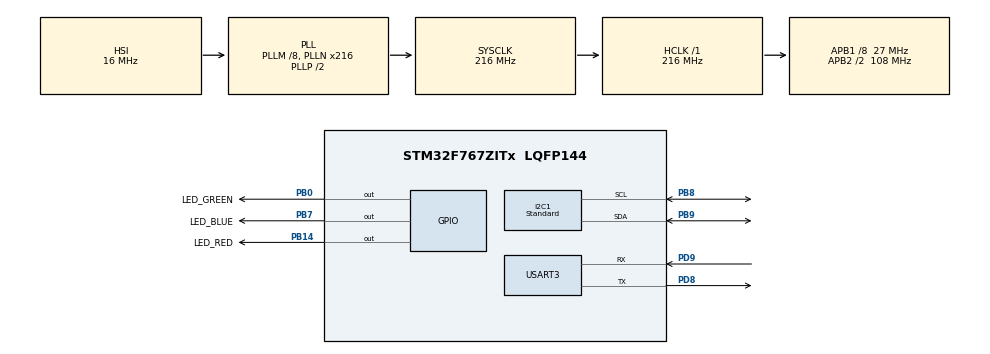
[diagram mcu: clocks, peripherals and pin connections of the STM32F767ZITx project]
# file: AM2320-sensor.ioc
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CORTEX_M7.default_mode_Activation=1
I2C1.I2C_Speed_Mode=I2C_Standard
I2C1.Timing=0x00606A9B
Mcu.Family=STM32F7
Mcu.Name=STM32F767ZITx
Mcu.Package=LQFP144
NVIC.I2C1_ER_IRQn=true\:0\:0\:false\:false\:true\:true\:true\:true
NVIC.I2C1_EV_IRQn=true\:0\:0\:true\:false\:true\:true\:true\:true
NVIC.PriorityGroup=NVIC_PRIORITYGROUP_4
NVIC.TIM6_DAC_IRQn=true\:0\:0\:false\:false\:true\:true\:true\:true
NVIC.USART3_IRQn=true\:0\:0\:true\:false\:true\:true\:true\:true
PA13.Mode=Serial_Wire
PA13.Signal=SYS_JTMS-SWDIO
PA14.Mode=Serial_Wire
PA14.Signal=SYS_JTCK-SWCLK
PB0.GPIO_Label=LED_GREEN
PB0.Signal=GPIO_Output
PB14.GPIO_Label=LED_RED
PB14.Signal=GPIO_Output
PB7.GPIO_Label=LED_BLUE
PB7.Signal=GPIO_Output
PB8.GPIO_Pu=GPIO_NOPULL
PB8.Mode=I2C
PB8.Signal=I2C1_SCL
PB9.GPIO_Pu=GPIO_NOPULL
PB9.Mode=I2C
PB9.Signal=I2C1_SDA
PD8.Mode=Asynchronous
PD8.Signal=USART3_TX
PD9.Mode=Asynchronous
PD9.Signal=USART3_RX
ProjectManager.HeapSize=0x200
ProjectManager.StackSize=0x400
ProjectManager.TargetToolchain=STM32CubeIDE
RCC.AHBFreq_Value=216000000
RCC.APB1CLKDivider=RCC_HCLK_DIV8
RCC.APB1Freq_Value=27000000
RCC.APB1TimFreq_Value=54000000
RCC.APB2CLKDivider=RCC_HCLK_DIV2
RCC.APB2Freq_Value=108000000
RCC.APB2TimFreq_Value=216000000
RCC.CortexFreq_Value=216000000
RCC.HCLKFreq_Value=216000000
RCC.HSE_VALUE=25000000
RCC.HSI_VALUE=16000000
RCC.LSE_VALUE=32768
RCC.PLLM=8
RCC.PLLN=216
RCC.SYSCLKFreq_VALUE=216000000
RCC.SYSCLKSource=RCC_SYSCLKSOURCE_PLLCLK
RCC.USBFreq_Value=216000000
RCC.VCOOutputFreq_Value=432000000
TIM6.AutoReloadPreload=TIM_AUTORELOAD_PRELOAD_ENABLE
TIM6.Period=1000-1
TIM6.Prescaler=54000-1
USART3.VirtualMode-Asynchronous=VM_ASYNC
VP_TIM6_VS_ClockSourceINT.Mode=Enable_Timer
board=custom

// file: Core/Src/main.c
/* USER CODE BEGIN Header */
/**
  ******************************************************************************
  * @file           : main.c
  * @brief          : Main program body
  ******************************************************************************
  * @attention
  *
  * Copyright (c) 2024 STMicroelectronics.
  * All rights reserved.
  *
  * This software is licensed under terms that can be found in the LICENSE file
  * in the root directory of this software component.
  * If no LICENSE file comes with this software, it is provided AS-IS.
  *
  ******************************************************************************
  */
/* USER CODE END Header */
#include "main.h"

/* USER CODE BEGIN Includes */
#include <stdio.h>
#include <ctype.h>
#include <inttypes.h>

#include "string.h"
#include "math.h"
#include "am2320_it.h"
#include "converters.h"
/* USER CODE END Includes */

/* USER CODE BEGIN PTD */
AM2320_HandleTypeDef am2320;

typedef struct {
	uint16_t temperature;
	uint16_t humidity;
} AM2320_Data;

// Used for storing information about the microcontroller
typedef struct {
	uint32_t unique_id[3];
	uint16_t rev_id;
	uint16_t dev_id;
} STM32_Info;

STM32_Info dev_info = {0};
/* USER CODE END PTD */

/* USER CODE BEGIN PD */
#define MAX_FRAME_LEN 1024
#define MIN_FRAME_LEN 12 // Frame length of a valid frame with an empty body
#define UART3_TX_BUF_LEN 4096
#define UART3_RX_BUF_LEN 4096
/* USER CODE END PD */

I2C_HandleTypeDef hi2c1;

TIM_HandleTypeDef htim6;

UART_HandleTypeDef huart3;

/* USER CODE BEGIN PV */
uint8_t UART3_Tx_Buf[UART3_TX_BUF_LEN];   // TX buffer for UART3
uint8_t UART3_Rx_Buf[UART3_RX_BUF_LEN];   // RX buffer for UART3

volatile uint16_t UART3_Tx_Empty = 0;     // TX buffer complete index
volatile uint16_t UART3_Tx_Busy = 0;      // TX buffer in progress index
volatile uint16_t UART3_Rx_Empty = 0;     // RX buffer complete index
volatile uint16_t UART3_Rx_Busy = 0;      // RX buffer in progress index

const uint8_t DEVICE_ADDRESS[4] = "STM";

AM2320_State am2320_state = AM2320_STATE_IDLE;
HAL_StatusTypeDef ret;
uint32_t tick_delay = 0;
uint8_t data_ready = 0;

volatile uint8_t delay_elapsed = 1;
volatile uint8_t sensor_active = 0;
volatile uint8_t sensor_read_data = 0;
volatile uint8_t sensor_read_info = 0;
volatile uint32_t sensor_read_interval = 2000;

AM2320_Data AM2320_Data_Buf[300];
volatile uint16_t AM2320_Buf_Idx = 0;
/* USER CODE END PV */

void SystemClock_Config(void);
static void MPU_Config(void);
static void MX_GPIO_Init(void);
static void MX_USART3_UART_Init(void);
static void MX_I2C1_Init(void);
static void MX_TIM6_Init(void);

/* USER CODE BEGIN 0 */
/**
 * @brief  Receives and validates a communication frame from the UART buffer.
 *
 * This function processes the incoming UART data, checks for valid frame format,
 * applies escape character sequences, verifies if the frame is meant for this
 * device based on the address, and validates the CRC checksum. If the frame is
 * valid, it extracts the sender's address and the data payload into the provided
 * arrays. Invalid frames are skipped.
 *
 * @param  sender_address Pointer to a buffer for storing the sender's address from the frame.
 * @param  data Pointer to a buffer for storing the extracted data payload from the frame.
 * @param  data_length Pointer to the variable storing the length of the data array.
 * @retval 1 if the frame is valid and processed successfully, 0 otherwise
 */
uint8_t receive_frame(uint8_t *sender_address, uint8_t *data, uint16_t *data_length)
{
	static uint8_t tmp[MAX_FRAME_LEN];
	static uint16_t index = 0;
	static uint8_t escape = 0; // Marker for the special '\' escape character sequence

	// When there's data to collect from the reception buffer
	while (UART3_Rx_Empty != UART3_Rx_Busy)
	{
		// Store new data in temporary buffer
		tmp[index] = UART3_Rx_Buf[UART3_Rx_Busy];
		if (++UART3_Rx_Busy >= UART3_RX_BUF_LEN)
		{
			UART3_Rx_Busy = 0;
		}

		// Collect & decode received frame
		if (tmp[index] == '[')
		{
			tmp[0] = '[';
			index = 1;
			escape = 0;
			continue;
		}

		// If received character was not the frame starting character ('[')
		if (!index)
		{
			continue;
		}

		// If the current character is the escape character, decode the following characters
		if (escape)
		{
			if (tmp[index] == '\\' && (index + 1) < MAX_FRAME_LEN)
			{
				tmp[index++] = '\\';
			}
			else if (tmp[index] == '{' && (index + 1) < MAX_FRAME_LEN)
			{
				tmp[index++] = '[';
			}
			else if (tmp[index] == '}' && (index + 1) < MAX_FRAME_LEN)
			{
				tmp[index++] = ']';
			}
			else
			{
				index = 0; // Incorrect character in the escape sequence -- reset the frame
			}
			escape = 0; // Turn off special character encoding
		}
		// If character at index is the escape character
		else if (tmp[index] == '\\')
		{
			escape = 1;
		}
		// Frame ending character found, move to data checks & collection
		else if (tmp[index] == ']')
		{
			uint16_t frame_length = index + 1; // Add frame end to the length
			index = 0;

			// Run checks before frame data collection
			// Skip frame, if the length is too short
			if (frame_length < MIN_FRAME_LEN)
			{
				continue;
			}

			// Skip frame if the recipient is NOT this device ('STM')
			if (tmp[4] != DEVICE_ADDRESS[0] || tmp[5] != DEVICE_ADDRESS[1] || tmp[6] != DEVICE_ADDRESS[2])
			{
				continue;
			}

			// Skip the frame on invalid CRC value
			uint8_t *crc_value_ptr = &tmp[frame_length - 5]; // CRC value length (4) + frame end character (1)

			// Compute the CRC value based on received frame's data
			uint8_t *data_value_ptr = &tmp[7];
			uint16_t data_part_length = frame_length - MIN_FRAME_LEN;
			uint16_t computed_crc = compute_CRC(data_value_ptr, data_part_length);

			// Convert computed CRC to char array for value comparison
			uint8_t crc_string[5];
			sprintf((char *)crc_string, "%04X", computed_crc);

			for (uint8_t i = 0; i < 4; i++)
			{
				if (!is_valid_hex((const char *)crc_value_ptr, 1))
				{
					continue; // Skip the frame if CRC character is not a valid hex number
				}
				else if (*crc_value_ptr != crc_string[i])
				{
					continue; // Skip the frame if the CRC doesn't match
				}
				crc_value_ptr++;
			}

			// Copy the frame's data part to the data array
			for (uint16_t i = 0; i < data_part_length; i++)
			{
				data[i] = *data_value_ptr; // Assign value at the memory address to the data array
				data_value_ptr++; // Move to the next memory address
			}
			data[data_part_length] = '\0'; // Null-terminate the array at the last index of the data

			// Copy the frame's sender address
			for (uint8_t i = 0; i < 4; i++)
			{
				*sender_address = tmp[i + 1];
				sender_address++;
			}

			// Pass the data length to the pointer variable
			*data_length = data_part_length;

			return 1;
		}
		else if (++index >= MAX_FRAME_LEN)
		{
			index = 0;
		}
	}
	return 0;
}

/**
 * @brief  Sends a formatted communication frame over UART from the STM32 device.
 *
 * This function creates a communication frame that includes the sender address,
 * recipient address, data payload, and CRC value, encapsulated within start ('[')
 * and end (']') characters. It also appends the carriage return and newline characters
 * at the end of the frame for line termination. The frame is then transferred to the
 * UART TX buffer, and the UART transmission is initiated using interrupt communication.
 *
 * @param  recipient_address Pointer to the buffer containing the recipient address.
 * @param  data Pointer to the buffer containing the data payload to be sent.
 * @param  crc_value The 16-bit CRC value.
 * @retval None
 */
void send_frame(uint8_t *recipient_address, uint8_t *data, uint16_t crc_value)
{
	uint16_t frame_length = strlen((char *)data) + MIN_FRAME_LEN; // Data length + other frame characters (12)
	uint8_t frame[frame_length + 3]; // Add (3) indexes for the special characters at the end of the frame
	uint16_t index = 0;

	// Cast the uint16_t CRC value to a uint8_t array
	uint8_t crc_string[5];
	sprintf((char *)crc_string, "%04X", crc_value);

	// Define pointers for easier data assignment in arrays
	const uint8_t *device_address_ptr = DEVICE_ADDRESS;
	uint8_t *crc_string_ptr = crc_string;

	// Create the communication frame
	frame[index++] = '['; // Add frame start character
	while (index < frame_length - 1) // Subtract (1) to omit copying the '\0' from the CRC string
	{
		if (index < 4) // Fill the sender address (STM)
		{
			frame[index++] = *device_address_ptr;
			device_address_ptr++;
		}
		else if (index < 7) // Fill the recipient address
		{
			frame[index++] = *recipient_address;
			recipient_address++;
		}
		else if (index < (frame_length - 5)) // Fill the data part
		{
			frame[index++] = *data;
			data++;
		}
		else // Fill the CRC value
		{
			frame[index++] = *crc_string_ptr;
			crc_string_ptr++;
		}
	}
	frame[index++] = ']'; // Add frame end character
	frame[index++] = '\r'; // Add the carriage return character
	frame[index++] = '\n'; // Add the newline character
	frame[index++] = '\0'; // Null-terminate the frame

	// Push the frame to the UART TX buffer
	volatile uint16_t copy_index = UART3_Tx_Empty;
	for (uint16_t i = 0; i < index; i++)
	{
		UART3_Tx_Buf[copy_index] = frame[i];
		if (++copy_index >= UART3_TX_BUF_LEN)
		{
			copy_index= 0;
		}
	}
	__disable_irq();

	// Transmit the frame from the TX buffer
	if (UART3_Tx_Empty == UART3_Tx_Busy && __HAL_UART_GET_FLAG(&huart3, UART_FLAG_TXE == SET))
	{
		UART3_Tx_Empty = copy_index;
		uint8_t tmp = UART3_Tx_Buf[UART3_Tx_Busy];
		if (++UART3_Tx_Busy >= UART3_TX_BUF_LEN)
		{
			UART3_Tx_Busy = 0;
		}
		HAL_UART_Transmit_IT(&huart3, &tmp, 1);
	}
	else
	{
		UART3_Tx_Empty = copy_index;
	}
	__enable_irq();
}

/**
 * @brief  Assigns information about the STM32 microcontroller to the info struct.
 *
 * @param  unique_id_address A pointer to the address where the unique ID is stored.
 * @param  idcode_address A pointer to the address of the device's ID code register.
 * @param  dev_info A pointer to the structure to assign the received data to.
 * @retval None
 */
void STM32_GetDeviceInfo(uint32_t *unique_id_address, uint32_t *idcode_address, STM32_Info *dev_info)
{
	// Get the unique ID of the microcontroller
	dev_info->unique_id[0] = unique_id_address[0];
	dev_info->unique_id[1] = unique_id_address[1];
	dev_info->unique_id[2] = unique_id_address[2];

	// Get the DBGMCU information
	uint32_t idcode = *(volatile uint32_t *)idcode_address;
	dev_info->rev_id = (idcode >> 16) & 0xFFFF;
	dev_info->dev_id = idcode & 0xFFF;
}

/**
 * @brief  Constructs the return frame with the STM32 info, and sends it to the user.
 *
 * @param  recipient A pointer to the source, requesting the data.
 * @param  device_info A pointer to the struct containing the STM info.
 * @retval None
 */
void STM32_SendDeviceInfoFrame(uint8_t *recipient, STM32_Info *device_info)
{
	// Descriptions for the device information
	uint8_t tmp_uid_desc[12] = "UNIQUE ID: ";
	uint8_t tmp_rev_desc[9] = "REV_ID: ";
	uint8_t tmp_id_desc[9] = "DEV_ID: ";

	// Device info buffers
	uint8_t tmp_uid_char[25];
	uint8_t tmp_rev_char[5];
	uint8_t tmp_id_char[4];

	// Helper variables for tracking array lengths and validating char-casting
	uint8_t char_array_length = 0;
	uint8_t ret;

	char_array_length = sizeof(tmp_uid_char);
	ret = snprintf((char *)tmp_uid_char, char_array_length, "%08lX%08lX%08lX",
			device_info->unique_id[0],
			device_info->unique_id[1],
			device_info->unique_id[2]);
	if (ret < 0 || ret > char_array_length) return;

	char_array_length = sizeof(tmp_rev_char);
	ret = snprintf((char *)tmp_rev_char, char_array_length, "%03X", device_info->rev_id);
	if (ret < 0 || ret > char_array_length) return;

	char_array_length = sizeof(tmp_id_char);
	ret = snprintf((char *)tmp_id_char, char_array_length, "%03X", device_info->dev_id);
	if (ret < 0 || ret > char_array_length) return;

	uint8_t info_output_data[61];
	uint8_t index = 0;

	// Construct the final output array by concatenating the string arrays
	memcpy(&info_output_data[index], tmp_uid_desc, strlen((const char*)tmp_uid_desc)); // Skip the null terminator
	index += strlen((const char *)tmp_uid_desc);

	memcpy(&info_output_data[index], tmp_uid_char, strlen((const char*)tmp_uid_char)); // Skip the null terminator
	index += strlen((const char *)tmp_uid_char);

	info_output_data[index++] = ' '; // Add a space separator

	memcpy(&info_output_data[index], tmp_rev_desc, strlen((const char*)tmp_rev_desc)); // Skip the null terminator
	index += strlen((const char *)tmp_rev_desc);

	memcpy(&info_output_data[index], tmp_rev_char, strlen((const char*)tmp_rev_char)); // Skip the null terminator
	index += strlen((const char *)tmp_rev_char);

	info_output_data[index++] = ' '; // Add a space separator

	memcpy(&info_output_data[index], tmp_id_desc, strlen((const char*)tmp_id_desc)); // Skip the null terminator
	index += strlen((const char *)tmp_id_desc);

	memcpy(&info_output_data[index], tmp_id_char, strlen((const char*)tmp_id_char) + 1); // Copy the null-terminator
	index += strlen((const char *)tmp_id_char);

	uint16_t crc_value = compute_CRC(info_output_data, index);
	send_frame(recipient, info_output_data, index, crc_value);
}

/**
 * @brief  Prepares and sends the formatted sensor reads.
 *
 * The function formats the read temperature and humidity values, constructs
 * and sends the frame with the formatted AM2320 sensor read values to the original
 * frame sender.
 *
 * @param  recipient A pointer to the original frame sender.
 * @param  temperature A float storing the temperature read value.
 * @param  humidity A float storing the humidity read value.
 * @retval None
 */
void AM2320_SendSensorDataFrame(uint8_t *recipient, uint16_t *read_idx, uint16_t temperature, uint16_t humidity)
{
	// Descriptions for the sensor data
	uint8_t tmp_temp_desc[7] = "TEMP: ";
	uint8_t tmp_hum_desc[6] = "HUM: ";

	// Sensor output buffers for the 4-bit hex format
	uint8_t tmp_char_temp[6];
	uint8_t tmp_char_hum[8];

	// Check if 'snprintf()' returned encoding errors or had written an invalid amount of characters
	uint8_t char_array_length = 0;
	uint8_t ret;

	char_array_length = sizeof(tmp_char_temp);
	ret = snprintf((char *)tmp_char_temp, char_array_length, "%04X", temperature);
	if (ret < 0 || ret >= char_array_length) return;

	tmp_char_temp[ret++] = 'C';
	tmp_char_temp[ret] = '\0';

	char_array_length = sizeof(tmp_char_hum);
	ret = snprintf((char *)tmp_char_hum, char_array_length, "%04X", humidity);
	if (ret < 0 || ret >= char_array_length) return;

	tmp_char_hum[ret++] = '%';
	tmp_char_hum[ret++] = 'R';
	tmp_char_hum[ret++] = 'H';
	tmp_char_hum[ret] = '\0';

	uint8_t sensor_read_output[35]; // Max total size of tmp arrays - x4 skipped '\0's + final '\0' at the end of the array
	uint8_t index = 0;

	// If requested, prepare the 'IDX' output string
	if (read_idx != NULL)
	{
		uint8_t tmp_idx_desc[6] = "IDX: ";
		uint8_t tmp_char_idx[5];
		uint8_t idx_array_length = 5;

		ret = snprintf((char *)tmp_char_idx, idx_array_length, "%04X", *read_idx);
		if (ret < 0 || ret >= idx_array_length) return;

		// Construct the final output array by concatenating the string arrays
		memcpy(&sensor_read_output[index], tmp_idx_desc, strlen((const char *)tmp_idx_desc)); // Skip the null terminator
		index += strlen((const char *)tmp_idx_desc);

		memcpy(&sensor_read_output[index], tmp_char_idx, strlen((const char *)tmp_char_idx)); // Skip the null terminator
		index += strlen((const char *)tmp_char_idx);

		sensor_read_output[index++] = ' '; // Add a space separator
	}

	// Construct the final output array by concatenating the string arrays
	memcpy(&sensor_read_output[index], tmp_temp_desc, strlen((const char *)tmp_temp_desc)); // Skip the null terminator
	index += strlen((const char *)tmp_temp_desc);

	memcpy(&sensor_read_output[index], tmp_char_temp, strlen((const char *)tmp_char_temp)); // Skip the null terminator
	index += strlen((const char *)tmp_char_temp);

	sensor_read_output[index++] = ' '; // Add a space separator

	memcpy(&sensor_read_output[index], tmp_hum_desc, strlen((const char *)tmp_hum_desc)); // Skip the null terminator
	index += strlen((const char *)tmp_hum_desc);

	memcpy(&sensor_read_output[index], tmp_char_hum, strlen((const char *)tmp_char_hum) + 1); // Copy the null terminator
	index += strlen((const char *)tmp_char_hum);

	uint16_t crc_value = compute_CRC(sensor_read_output, index);
	send_frame(recipient, sensor_read_output, index, crc_value);
}

/**
 * @brief  Reads and executes the command sent in the data part of the frame.
 *
 * This function searches for available command substrings within the passed data array.
 * If a command is found it is immediately executed within the loop. After command execution,
 * the function continues to look for the next command until it reaches the end of data array.
 *
 * @param  recipient_address A pointer to the array containing the frame sender's address.
 * @param  frame_data A pointer to the array containing the commands.
 * @param  data_length Amount of characters to read from the data array.
 * @retval None
 */
void process_command(uint8_t *recipient_address, uint8_t *frame_data, uint16_t data_length)
{
	// Define available commands in char array format for string value comparison
	const char *available_commands[] = { "START", "STOP", "READ", "INTV", "INFO" };
	uint8_t command_count = sizeof(available_commands) / sizeof(available_commands[0]);

	uint8_t tmp_command[data_length]; // Temporary array for processing commands in FIFO order
	uint16_t tmp_command_idx = 0;

	const char *index = (const char *)&tmp_command; // Checkpoint index for command processing

	// Exit early without processing data
	if (data_length < 5)
	{
		return; // Shortest valid command needs at least 5 characters
	}
	else if (!strstr((const char *)frame_data, (const char *)";"))
	{
		return; // No command end character found -- no valid command in data array
	}

	while (tmp_command_idx <= data_length)
	{
		// Compare every available command with the current content of tmp_command array
		for (uint8_t i = 0; i < command_count; i++)
		{
			// Look for a matching command string from the previous index, onwards
			const char *match = strstr(index, available_commands[i]);
			const char *char_after_command_string = match + strlen((const char *)available_commands[i]);
			if (match && *char_after_command_string == ';')
			{
				// Save the index of the last found command -- prevents from 'finding' the same command twice
				index = match + strlen((const char *)available_commands[i]) + 1; // Shift the index past the ';' char
				if (strncmp(available_commands[i], "START", strlen("START")) == 0)
				{
					HAL_GPIO_WritePin(LED_RED_GPIO_Port, LED_RED_Pin, 0); // Debug: Turn OFF RED LED
					sensor_active = 1;
					uint16_t crc_value = compute_CRC((uint8_t *)"SENSOR: STARTED", strlen("SENSOR: STARTED"));
					send_frame(recipient_address, (uint8_t *)"SENSOR: STARTED", strlen("SENSOR: STARTED"), crc_value);
				}
				else if (strncmp(available_commands[i], "STOP", strlen("STOP")) == 0)
				{
					HAL_GPIO_WritePin(LED_RED_GPIO_Port, LED_RED_Pin, 1); // Debug: Turn ON RED LED
					sensor_active = 0;
					uint16_t crc_value = compute_CRC((uint8_t *)"SENSOR: STOPPED", strlen("SENSOR: STOPPED"));
					send_frame(recipient_address, (uint8_t *)"SENSOR: STOPPED", strlen("SENSOR: STOPPED"), crc_value);
				}
				else if (strncmp(available_commands[i], "READ", strlen("READ")) == 0)
				{
					HAL_GPIO_TogglePin(LED_GREEN_GPIO_Port, LED_GREEN_Pin); // Debug: Toggle GREEN LED
					sensor_read_data = !sensor_read_data; // Toggle displaying the data
				}
				else if (strncmp(available_commands[i], "INTV", strlen("INTV")) == 0)
				{
					uint8_t interval_ret_message[19] = "INTERVAL: ";
					uint8_t tmp_interval_value_array[9];
					sprintf((char *)tmp_interval_value_array, "%08" PRIX32, sensor_read_interval);

					// Concatenate the arrays to form the message
					size_t interval_array_size = sizeof(interval_ret_message) / sizeof(interval_ret_message[0]) - 1;
					size_t concat_char_limit = interval_array_size - strlen((const char *)tmp_interval_value_array);
					strncat((char *)interval_ret_message, (const char *)tmp_interval_value_array, concat_char_limit);

					// Send return message
					uint16_t crc_value = compute_CRC(interval_ret_message, interval_array_size);
					send_frame(recipient_address, interval_ret_message, interval_array_size, crc_value);
				}
			}
			else if (match && *char_after_command_string == '|')
			{
				if (strncmp(available_commands[i], "READ", strlen("READ")) == 0 && *(char_after_command_string + 5) == ';')
				{
					index = match + strlen((const char *)available_commands[i]) + 6; // Shift the index past the ';' char
					// Fill the read param's numerical values
					uint8_t tmp_read_param[5];
					for (uint8_t i = 0; i < 4; i++)
					{
						tmp_read_param[i] = *(char_after_command_string++ + 1);
					}
					tmp_read_param[4] = '\0'; // Null-terminate the array

					// Validate the numerical values in the array
					if (!is_valid_hex((const char *)tmp_read_param, strlen((const char *)tmp_read_param)))
					{
						continue;
					}

					// Get data from AM2320 buffer
					uint16_t buffer_index = convert_char_string_to_uint16(tmp_read_param, strlen((const char *)tmp_read_param));

					// Validate the index is within range of the AM2320 data buffer
					if (buffer_index < 0 || buffer_index > 299)
					{
						uint16_t crc_value = compute_CRC((uint8_t *)"IDX_ERROR", strlen((const char *)"IDX_ERROR"));
						send_frame(recipient_address, (uint8_t *)"IDX_ERROR", strlen((const char *)"IDX_ERROR"), crc_value);
						continue;
					}

					AM2320_Data archived_data = AM2320_Data_Buf[buffer_index];
					AM2320_SendSensorDataFrame(recipient_address, &buffer_index, archived_data.temperature, archived_data.humidity);
				}
				else if (strncmp(available_commands[i], "READ", strlen("READ")) == 0 && *(char_after_command_string + 5) == '-' && *(char_after_command_string + 10) == ';')
				{
					index = match + strlen((const char *)available_commands[i]) + 11; // Shift the index past the ';' char
					uint8_t tmp_read_param_start[5];
					uint8_t tmp_read_param_stop[5];

					// Fill the numerical string parameter arrays
					for (uint8_t i = 0; i < 4; i++)
					{
						tmp_read_param_start[i] = *(char_after_command_string + 1);
						tmp_read_param_stop[i] = *(char_after_command_string + 6);
						char_after_command_string++;
					}
					// Null-terminate the arrays
					tmp_read_param_start[4] = '\0';
					tmp_read_param_stop[4] = '\0';

					// Validate the numerical values in the arrays
					if (!is_valid_hex((const char *)tmp_read_param_start, strlen((const char *)tmp_read_param_start)) ||
						!is_valid_hex((const char *)tmp_read_param_stop, strlen((const char *)tmp_read_param_stop)))
					{
						continue;
					}

					// Get data from AM2320 buffer
					uint16_t buffer_start_index = convert_char_string_to_uint16(tmp_read_param_start, strlen((const char*)tmp_read_param_start));
					uint16_t buffer_stop_index = convert_char_string_to_uint16(tmp_read_param_stop, strlen((const char*)tmp_read_param_stop));

					// Validate the index start and stop values
					if (buffer_start_index > buffer_stop_index ||
						(buffer_start_index < 0 || buffer_start_index > 299) ||
						(buffer_stop_index < 0 || buffer_stop_index > 299))
					{
						uint16_t crc_value = compute_CRC((uint8_t *)"IDX_ERROR", strlen((const char *)"IDX_ERROR"));
						send_frame(recipient_address, (uint8_t *)"IDX_ERROR", strlen((const char *)"IDX_ERROR"), crc_value);
						continue;
					}

					AM2320_Data archived_data;
					while (buffer_start_index <= buffer_stop_index)
					{
						archived_data = AM2320_Data_Buf[buffer_start_index];
						AM2320_SendSensorDataFrame(recipient_address, &buffer_start_index, archived_data.temperature, archived_data.humidity);
						buffer_start_index++;
					}
				}
				else if (strncmp(available_commands[i], "INTV", strlen("INTV")) == 0 && *(char_after_command_string + 9) == ';')
				{
					index = match + strlen((const char *)available_commands[i]) + 10; // Shift the index past the ';' char
					uint8_t tmp_intv_param[9];

					// Fill the param's numerical values
					for (uint8_t i = 0; i < 8; i++)
					{
						tmp_intv_param[i] = *(char_after_command_string++ + 1);
					}
					tmp_intv_param[8] = '\0'; // Null-terminate the array

					// Validate the numerical values in the array
					if (!is_valid_hex((const char *)tmp_intv_param, strlen((const char *)tmp_intv_param)))
					{
						continue;
					}

					// Assign new interval value
					sensor_read_interval = convert_char_string_to_uint16(tmp_intv_param, strlen((const char *)tmp_intv_param));

					// TODO: Improve range check logic
					// Only check for values under 2000ms -- values over the max range will overflow
					if (sensor_read_interval < 2000)
					{
						uint16_t crc_value = compute_CRC((uint8_t *)"IDX_ERROR", strlen((const char *)"IDX_ERROR"));
						send_frame(recipient_address, (uint8_t *)"IDX_ERROR", strlen((const char *)"IDX_ERROR"), crc_value);
						continue;
					}

					// Prepare the return command message
					uint8_t tmp_interval_array[23] = "NEW INTERVAL: ";
					uint8_t tmp_interval_value_array[9];
					sprintf((char *)tmp_interval_value_array, "%08" PRIX32, sensor_read_interval);

					// Concatenate the arrays to form the message
					size_t interval_array_size = sizeof(tmp_interval_array) / sizeof(tmp_interval_array[0]) - 1;
					size_t concat_char_limit = interval_array_size - strlen((const char *)tmp_interval_value_array);
					strncat((char *)tmp_interval_array, (const char *)tmp_interval_value_array, concat_char_limit);

					// Send return message
					uint16_t crc_value = compute_CRC(tmp_interval_array, interval_array_size);
					send_frame(recipient_address, tmp_interval_array, interval_array_size, crc_value);
				}
				else if (strncmp(available_commands[i], "INFO", strlen("INFO")) == 0 && *(char_after_command_string + 4) == ';')
				{
					index = match + strlen((const char *)available_commands[i]) + 5; // Shift the index past the ';' char

					uint8_t tmp_info_param[4];
					for (uint8_t i = 0; i < 3; i++)
					{
						tmp_info_param[i] = *(char_after_command_string++ + 1);
					}
					tmp_info_param[3] = '\0'; // Null-terminate the array

					if (strncmp((const char *)tmp_info_param, "STM", strlen("STM")) == 0)
					{
						uint32_t *id_address = (uint32_t *)0x1FF0F420;
						uint32_t *idcode_address = (uint32_t *)0xE0042000;
						STM32_GetDeviceInfo(id_address, idcode_address, &dev_info);

						STM32_SendDeviceInfoFrame(recipient_address, &dev_info);
					}
					else if (strncmp((const char *)tmp_info_param, "SNS", strlen("SNS")) == 0)
					{
						sensor_read_info = 1;
					}
					else continue;
				}
			}
			else if (match && (*frame_data != '|' && *frame_data != ';'))
			{
				index = (const char *)(tmp_command + tmp_command_idx); // Reset index -- prevents from 'indexing' old commands
			}
		}
		tmp_command[tmp_command_idx++] = *(frame_data++); // Copy next character to the temporary array
	}

	// Reset the temporary array -- ensures no data is left over from the last read
	memset(tmp_command, 0, sizeof(tmp_command));
}
/* USER CODE END 0 */

int main(void)
{

  /* MPU Configuration--------------------------------------------------------*/
  MPU_Config();

  /* MCU Configuration--------------------------------------------------------*/

  /* Reset of all peripherals, Initializes the Flash interface and the Systick. */
  HAL_Init();

  /* USER CODE BEGIN Init */
  uint8_t sender_address[4] = {0};
  uint8_t data[MAX_FRAME_LEN];
  uint16_t data_length = 0;

  uint16_t temperature = 0;
  uint16_t humidity = 0;

  // Sensor info
  uint32_t am2320_id = 0;
  uint16_t am2320_model = 0;
  uint8_t am2320_version = 0;

  AM2320_Data read_data;
  /* USER CODE END Init */

  /* Configure the system clock */
  SystemClock_Config();

  /* Initialize all configured peripherals */
  MX_GPIO_Init();
  MX_USART3_UART_Init();
  MX_I2C1_Init();
  MX_TIM6_Init();
  /* USER CODE BEGIN 2 */
  HAL_UART_Receive_IT(&huart3, &UART3_Rx_Buf[UART3_Rx_Empty], 1);
  AM2320_Init(&am2320, &hi2c1, AM2320_ADDRESS);
  /* USER CODE END 2 */

  /* Infinite loop */
  while (1)
  {

    /* USER CODE BEGIN 3 */
	  uint8_t frame_received = receive_frame(sender_address, data, &data_length);
	  if (frame_received)
	  {
		  process_command(sender_address, data, data_length);
	  }

	  // Return to the beginning of the loop if the sensor is idle
	  if (sensor_active == 0)
	  {
		  continue;
	  }

	  // AM2320 sensor reads
	  if (delay_elapsed == 1)
	  {
		  AM2320_InitSensorRead(&am2320);

		  if (sensor_read_data == 1)
		  {
			  AM2320_ReadSensorData(&am2320);
		  }
		  else if (sensor_read_info == 1)
		  {
			  AM2320_ReadSensorInfo(&am2320);
		  }

		  if (data_ready == 1 && sensor_read_data == 1)
		  {
			  // Sensor data successfully read, process the data
			  AM2320_ProcessSensorData(&am2320, &temperature, &humidity);

			  // Assign read data to a temporary data storage variable
			  read_data.temperature = temperature;
			  read_data.humidity = humidity;

			  // Place processed data in the AM2320 data buffer
			  AM2320_Data_Buf[AM2320_Buf_Idx] = read_data;

			  if (++AM2320_Buf_Idx >= 300)
			  {
				  AM2320_Buf_Idx = 0;
			  }

			  // Send the sensor data back
			  AM2320_SendSensorDataFrame(sender_address, NULL, temperature, humidity);

			  data_ready = 0;
			  am2320_state = AM2320_STATE_IDLE;

			  if (htim6.State != HAL_TIM_STATE_READY)
			  {
				  HAL_TIM_Base_Stop_IT(&htim6); // Manually stop the timer
			  }
			  TIM_StartDelay(sensor_read_interval); // Start the delay between sensor reads
		  }
		  else if (data_ready == 1 && sensor_read_info == 1)
		  {
			  AM2320_ProcessSensorInfo(&am2320, &am2320_id, &am2320_model, &am2320_version);

			  sensor_read_info = 0;
			  data_ready = 0;

			  if (htim6.State != HAL_TIM_STATE_READY)
			  {
				  HAL_TIM_Base_Stop_IT(&htim6); // Manually stop the timer
			  }
			  TIM_StartDelay(sensor_read_interval); // Restart the delay for the reads
		  }
	  }
  }
  /* USER CODE END 3 */
}

void SystemClock_Config(void)
{
  RCC_OscInitTypeDef RCC_OscInitStruct = {0};
  RCC_ClkInitTypeDef RCC_ClkInitStruct = {0};

  /** Configure the main internal regulator output voltage
  */
  __HAL_RCC_PWR_CLK_ENABLE();
  __HAL_PWR_VOLTAGESCALING_CONFIG(PWR_REGULATOR_VOLTAGE_SCALE1);

  /** Initializes the RCC Oscillators according to the specified parameters
  * in the RCC_OscInitTypeDef structure.
  */
  RCC_OscInitStruct.OscillatorType = RCC_OSCILLATORTYPE_HSI;
  RCC_OscInitStruct.HSIState = RCC_HSI_ON;
  RCC_OscInitStruct.HSICalibrationValue = RCC_HSICALIBRATION_DEFAULT;
  RCC_OscInitStruct.PLL.PLLState = RCC_PLL_ON;
  RCC_OscInitStruct.PLL.PLLSource = RCC_PLLSOURCE_HSI;
  RCC_OscInitStruct.PLL.PLLM = 8;
  RCC_OscInitStruct.PLL.PLLN = 216;
  RCC_OscInitStruct.PLL.PLLP = RCC_PLLP_DIV2;
  RCC_OscInitStruct.PLL.PLLQ = 2;
  RCC_OscInitStruct.PLL.PLLR = 2;
  if (HAL_RCC_OscConfig(&RCC_OscInitStruct) != HAL_OK)
  {
    Error_Handler();
  }

  /** Activate the Over-Drive mode
  */
  if (HAL_PWREx_EnableOverDrive() != HAL_OK)
  {
    Error_Handler();
  }

  /** Initializes the CPU, AHB and APB buses clocks
  */
  RCC_ClkInitStruct.ClockType = RCC_CLOCKTYPE_HCLK|RCC_CLOCKTYPE_SYSCLK
                              |RCC_CLOCKTYPE_PCLK1|RCC_CLOCKTYPE_PCLK2;
  RCC_ClkInitStruct.SYSCLKSource = RCC_SYSCLKSOURCE_PLLCLK;
  RCC_ClkInitStruct.AHBCLKDivider = RCC_SYSCLK_DIV1;
  RCC_ClkInitStruct.APB1CLKDivider = RCC_HCLK_DIV8;
  RCC_ClkInitStruct.APB2CLKDivider = RCC_HCLK_DIV2;

  if (HAL_RCC_ClockConfig(&RCC_ClkInitStruct, FLASH_LATENCY_7) != HAL_OK)
  {
    Error_Handler();
  }
}

static void MX_I2C1_Init(void)
{

  hi2c1.Instance = I2C1;
  hi2c1.Init.Timing = 0x00606A9B;
  hi2c1.Init.OwnAddress1 = 0;
  hi2c1.Init.AddressingMode = I2C_ADDRESSINGMODE_7BIT;
  hi2c1.Init.DualAddressMode = I2C_DUALADDRESS_DISABLE;
  hi2c1.Init.OwnAddress2 = 0;
  hi2c1.Init.OwnAddress2Masks = I2C_OA2_NOMASK;
  hi2c1.Init.GeneralCallMode = I2C_GENERALCALL_DISABLE;
  hi2c1.Init.NoStretchMode = I2C_NOSTRETCH_DISABLE;
  if (HAL_I2C_Init(&hi2c1) != HAL_OK)
  {
    Error_Handler();
  }

  /** Configure Analogue filter
  */
  if (HAL_I2CEx_ConfigAnalogFilter(&hi2c1, I2C_ANALOGFILTER_ENABLE) != HAL_OK)
  {
    Error_Handler();
  }

  /** Configure Digital filter
  */
  if (HAL_I2CEx_ConfigDigitalFilter(&hi2c1, 0) != HAL_OK)
  {
    Error_Handler();
  }

}

static void MX_TIM6_Init(void)
{

  TIM_MasterConfigTypeDef sMasterConfig = {0};

  htim6.Instance = TIM6;
  htim6.Init.Prescaler = 54000-1;
  htim6.Init.CounterMode = TIM_COUNTERMODE_UP;
  htim6.Init.Period = 1000-1;
  htim6.Init.AutoReloadPreload = TIM_AUTORELOAD_PRELOAD_ENABLE;
  if (HAL_TIM_Base_Init(&htim6) != HAL_OK)
  {
    Error_Handler();
  }
  sMasterConfig.MasterOutputTrigger = TIM_TRGO_RESET;
  sMasterConfig.MasterSlaveMode = TIM_MASTERSLAVEMODE_DISABLE;
  if (HAL_TIMEx_MasterConfigSynchronization(&htim6, &sMasterConfig) != HAL_OK)
  {
    Error_Handler();
  }

}

static void MX_USART3_UART_Init(void)
{

  huart3.Instance = USART3;
  huart3.Init.BaudRate = 115200;
  huart3.Init.WordLength = UART_WORDLENGTH_8B;
  huart3.Init.StopBits = UART_STOPBITS_1;
  huart3.Init.Parity = UART_PARITY_NONE;
  huart3.Init.Mode = UART_MODE_TX_RX;
  huart3.Init.HwFlowCtl = UART_HWCONTROL_NONE;
  huart3.Init.OverSampling = UART_OVERSAMPLING_16;
  huart3.Init.OneBitSampling = UART_ONE_BIT_SAMPLE_DISABLE;
  huart3.AdvancedInit.AdvFeatureInit = UART_ADVFEATURE_NO_INIT;
  if (HAL_UART_Init(&huart3) != HAL_OK)
  {
    Error_Handler();
  }

}

static void MX_GPIO_Init(void)
{
  GPIO_InitTypeDef GPIO_InitStruct = {0};

  /* GPIO Ports Clock Enable */
  __HAL_RCC_GPIOB_CLK_ENABLE();
  __HAL_RCC_GPIOD_CLK_ENABLE();
  __HAL_RCC_GPIOA_CLK_ENABLE();

  /*Configure GPIO pin Output Level */
  HAL_GPIO_WritePin(GPIOB, LED_GREEN_Pin|LED_RED_Pin|LED_BLUE_Pin, GPIO_PIN_RESET);

  /*Configure GPIO pins : LED_GREEN_Pin LED_RED_Pin LED_BLUE_Pin */
  GPIO_InitStruct.Pin = LED_GREEN_Pin|LED_RED_Pin|LED_BLUE_Pin;
  GPIO_InitStruct.Mode = GPIO_MODE_OUTPUT_PP;
  GPIO_InitStruct.Pull = GPIO_NOPULL;
  GPIO_InitStruct.Speed = GPIO_SPEED_FREQ_LOW;
  HAL_GPIO_Init(GPIOB, &GPIO_InitStruct);

}

/* USER CODE BEGIN 4 */
void HAL_UART_TxCpltCallback(UART_HandleTypeDef *huart)
{
	if (huart == &huart3)
	{
		if (UART3_Tx_Empty != UART3_Tx_Busy)
		{
			uint8_t tmp = UART3_Tx_Buf[UART3_Tx_Busy];
			UART3_Tx_Busy++;
			if (UART3_Tx_Busy >= UART3_TX_BUF_LEN)
			{
				UART3_Tx_Busy = 0;
			}
			HAL_UART_Transmit_IT(&huart3, &tmp, 1);
		}
	}
}

void HAL_UART_RxCpltCallback(UART_HandleTypeDef *huart)
{
	if (huart == &huart3)
	{
		UART3_Rx_Empty++;
		if (UART3_Rx_Empty >= UART3_RX_BUF_LEN)
		{
			UART3_Rx_Empty = 0;
		}
		HAL_UART_Receive_IT(&huart3, &UART3_Rx_Buf[UART3_Rx_Empty], 1);
	}
}

void HAL_TIM_PeriodElapsedCallback(TIM_HandleTypeDef *htim)
{
	if (htim == &htim6)
	{
		HAL_GPIO_TogglePin(LED_BLUE_GPIO_Port, LED_BLUE_Pin);
		delay_elapsed = 1;
		HAL_TIM_Base_Stop_IT(htim);
	}
}

void HAL_I2C_MasterTxCpltCallback(I2C_HandleTypeDef *hi2c)
{
	if (hi2c == &hi2c1)
	{
		if (am2320_state == AM2320_STATE_SEND_COMMAND)
		{
			am2320_state = AM2320_STATE_READ_DATA;
		}
		else
		{
			am2320_state = AM2320_STATE_IDLE;
		}
	}
}

void HAL_I2C_MasterRxCpltCallback(I2C_HandleTypeDef *hi2c)
{
    if (hi2c == &hi2c1)
    {
    	static uint8_t read_retries = 0;

		if (am2320_state == AM2320_STATE_READ_DATA && (am2320.sensor_data[0] == 0x03 && am2320.sensor_data[1] == 0x04))
		{
			data_ready = 1;
		}
		else if (am2320_state == AM2320_STATE_READ_DATA && (am2320.sensor_data[0] == 0x03 && am2320.sensor_data[1] == 0x07))
		{
			data_ready = 1;
		}
		else if (read_retries < 3)
		{
			read_retries++; // Retry 3 times
			return;
		}
		read_retries = 0;
		am2320_state = AM2320_STATE_IDLE;
	}
}
/* USER CODE END 4 */

 /* MPU Configuration */

void MPU_Config(void)
{
  MPU_Region_InitTypeDef MPU_InitStruct = {0};

  /* Disables the MPU */
  HAL_MPU_Disable();

  /** Initializes and configures the Region and the memory to be protected
  */
  MPU_InitStruct.Enable = MPU_REGION_ENABLE;
  MPU_InitStruct.Number = MPU_REGION_NUMBER0;
  MPU_InitStruct.BaseAddress = 0x0;
  MPU_InitStruct.Size = MPU_REGION_SIZE_4GB;
  MPU_InitStruct.SubRegionDisable = 0x87;
  MPU_InitStruct.TypeExtField = MPU_TEX_LEVEL0;
  MPU_InitStruct.AccessPermission = MPU_REGION_NO_ACCESS;
  MPU_InitStruct.DisableExec = MPU_INSTRUCTION_ACCESS_DISABLE;
  MPU_InitStruct.IsShareable = MPU_ACCESS_SHAREABLE;
  MPU_InitStruct.IsCacheable = MPU_ACCESS_NOT_CACHEABLE;
  MPU_InitStruct.IsBufferable = MPU_ACCESS_NOT_BUFFERABLE;

  HAL_MPU_ConfigRegion(&MPU_InitStruct);
  /* Enables the MPU */
  HAL_MPU_Enable(MPU_PRIVILEGED_DEFAULT);

}

void Error_Handler(void)
{
  __disable_irq();
  while (1)
  {
  }
}
